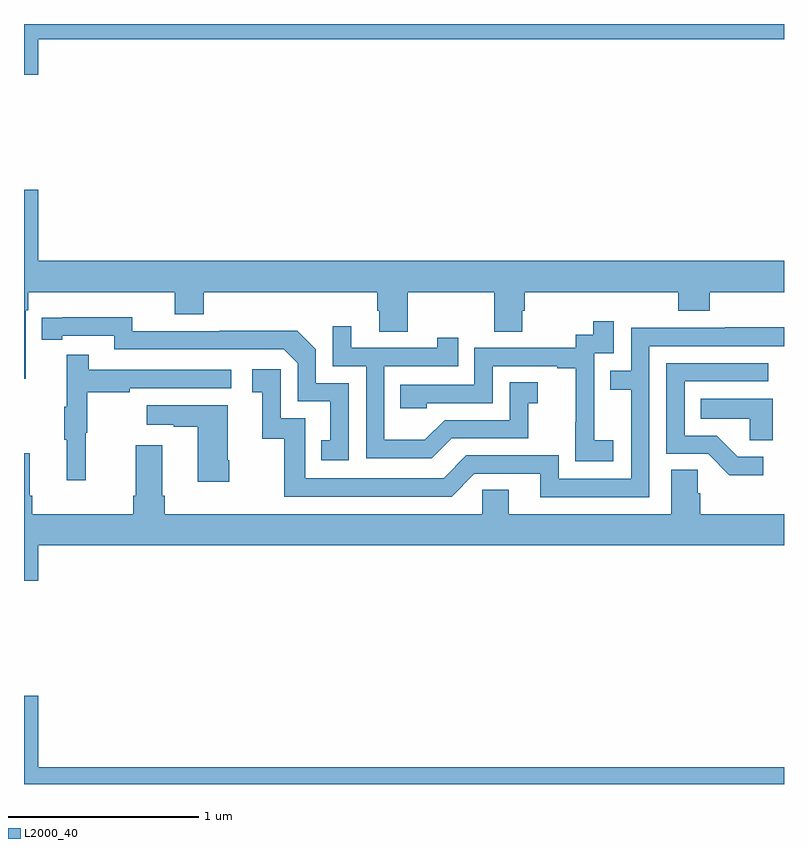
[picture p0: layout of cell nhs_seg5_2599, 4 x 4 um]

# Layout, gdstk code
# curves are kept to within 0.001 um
import gdstk
lib = gdstk.Library(unit=1e-6, precision=1e-09)
def P(c, l, *ps):  # polygons
    for p in ps: c.add(gdstk.Polygon(p, *l))
L2000_40 = (2000, 40)

nhs_seg5_2599 = lib.new_cell('nhs_seg5_2599')
P(nhs_seg5_2599, L2000_40, [(261.076,896.72),(265,896.72),(265,896.799),(261,896.799),(261,896.532),(261.076,896.532)],
  [(261.009,895.292),(261.023,895.292),(261.023,895.388),(261.794,895.388),(261.794,895.271),(261.947,895.271),(261.947,895.388),(262.859,895.388),(262.859,895.29),(262.871,895.29),(262.871,895.18),(263.019,895.18),(263.019,895.388),(263.476,895.388),(263.476,895.18),(263.623,895.18),(263.623,895.29),(263.636,895.29),(263.636,895.388),(264.443,895.388),(264.443,895.289),(264.608,895.289),(264.608,895.388),(265,895.388),(265,895.552),(261.076,895.552),(261.076,895.927),(261,895.927),(261,894.933),(261.009,894.933)],
  [(262.71,894.909),(262.536,894.909),(262.536,895.086),(262.438,895.184),(262.03,895.184),(262.03,895.182),(261.57,895.182),(261.57,895.255),(261.094,895.254),(261.094,895.138),(261.202,895.138),(261.202,895.158),(261.474,895.158),(261.474,895.086),(262.368,895.086),(262.44,895.014),(262.44,894.813),(262.613,894.813),(262.613,894.609),(262.564,894.609),(262.564,894.504),(262.71,894.504)],
  [(264.1,894.607),(264.002,894.607),(264.002,894.836),(264,894.836),(264,895.065),(264.105,895.065),(264.105,895.234),(263.997,895.234),(263.997,895.164),(263.904,895.164),(263.904,895.095),(263.37,895.095),(263.37,894.9),(262.981,894.9),(262.981,894.777),(263.121,894.777),(263.121,894.804),(263.466,894.804),(263.466,894.999),(263.807,894.999),(263.807,894.987),(263.903,894.987),(263.903,894.703),(263.902,894.703),(263.902,894.497),(264.1,894.497)],
  [(263.251,894.618),(263.655,894.618),(263.655,894.803),(263.704,894.803),(263.704,894.913),(263.556,894.913),(263.556,894.714),(263.214,894.714),(263.11,894.61),(262.896,894.61),(262.896,894.999),(263.285,894.999),(263.285,895.147),(263.174,895.147),(263.174,895.095),(262.723,895.095),(262.723,895.207),(262.626,895.207),(262.626,894.999),(262.8,894.999),(262.8,894.513),(263.146,894.513)],
  [(264.291,895.104),(265,895.104),(265,895.202),(264.691,895.202),(264.691,895.2),(264.195,895.2),(264.195,894.975),(264.085,894.975),(264.085,894.874),(264.195,894.874),(264.195,894.405),(263.814,894.405),(263.814,894.528),(263.328,894.528),(263.208,894.408),(262.479,894.408),(262.479,894.723),(262.35,894.723),(262.35,894.982),(262.2,894.982),(262.2,894.861),(262.253,894.861),(262.253,894.615),(262.371,894.615),(262.371,894.312),(263.25,894.312),(263.37,894.432),(263.717,894.432),(263.717,894.309),(264.291,894.309)],
  [(261.326,894.648),(261.334,894.648),(261.334,894.862),(261.557,894.862),(261.557,894.882),(262.09,894.882),(262.09,894.978),(261.341,894.978),(261.341,895.057),(261.224,895.057),(261.224,894.785),(261.213,894.785),(261.213,894.611),(261.224,894.611),(261.224,894.399),(261.326,894.399)],
  [(264.892,894.522),(264.757,894.522),(264.646,894.633),(264.477,894.633),(264.477,894.918),(264.916,894.918),(264.916,895.014),(264.381,895.014),(264.381,894.537),(264.6,894.537),(264.713,894.425),(264.892,894.425)],
  [(264.94,894.826),(264.562,894.826),(264.562,894.722),(264.819,894.722),(264.819,894.607),(264.94,894.607)],
  [(262.08,894.502),(262.072,894.502),(262.072,894.793),(261.645,894.793),(261.645,894.689),(261.788,894.689),(261.788,894.679),(261.914,894.679),(261.914,894.39),(262.08,894.39)],
  [(261.076,894.056),(265,894.056),(265,894.22),(264.56,894.22),(264.56,894.329),(264.546,894.329),(264.546,894.452),(264.407,894.452),(264.407,894.22),(263.551,894.22),(263.551,894.347),(263.412,894.347),(263.412,894.22),(261.74,894.22),(261.74,894.316),(261.727,894.316),(261.727,894.583),(261.587,894.583),(261.587,894.316),(261.575,894.316),(261.575,894.22),(261.044,894.22),(261.044,894.316),(261.031,894.316),(261.031,894.541),(261,894.541),(261,893.868),(261.076,893.868)],
  [(265,892.888),(261.076,892.888),(261.076,893.263),(261,893.263),(261,892.799),(265,892.799)])

lib.write_gds('nhs_seg5_2599.gds')
